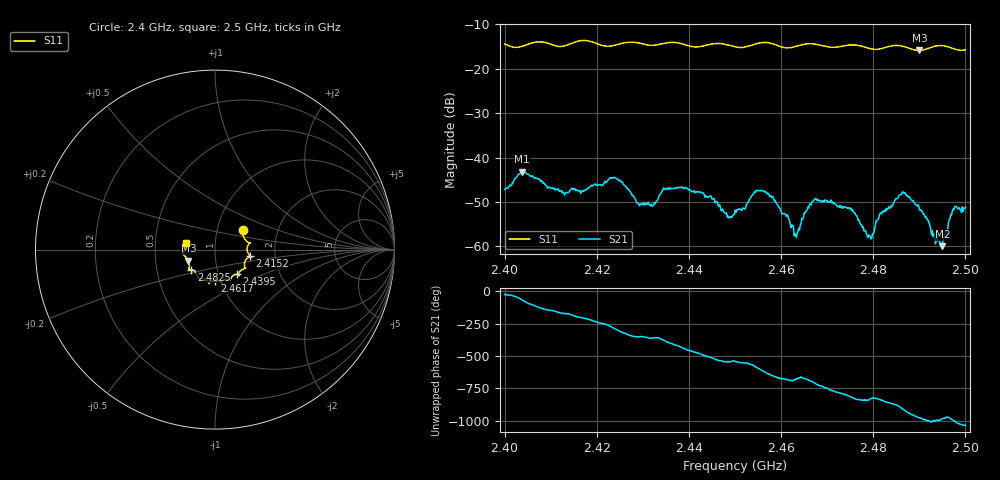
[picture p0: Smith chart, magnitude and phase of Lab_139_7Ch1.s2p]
# Hz S RI R 50
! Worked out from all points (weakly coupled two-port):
!   601 points, 2.4 GHz to 2.5 GHz, reference 50 ohm
!   highest |S21| = -43.18 dB at 2.4038 GHz (marker M1); lowest = -60.0 dB at 2.495 GHz (marker M2)
!   lowest |S11| = -15.9 dB at 2.49 GHz (marker M3), VSWR 1.38, Z = 36.8 - j4.71 ohm
!   |S11| at or under -10 dB: start of sweep to end of sweep
!   S12 and S22 are empty: the file has one direction only
!   S11 on the Smith chart (normalised r, x): 2.4 GHz: 1.33, +0.30; 2.4152 GHz: 1.48, -0.11; 2.4395 GHz: 1.22, -0.35; 2.4617 GHz: 0.94, -0.33; 2.4825 GHz: 0.75, -0.17; 2.5 GHz: 0.72, +0.05
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2.4e9  0.1555 0.1099  0.00396 -0.00184  0 0  0 0
2.403833e9  0.1724 0.0506  0.00258 -0.00643  0 0  0 0
2.415167e9  0.1958 -0.0362  -0.00427 0.000889  0 0  0 0
2.416667e9  0.204 -0.0417  -0.0037 0.00163  0 0  0 0
2.4235e9  0.1635 -0.0806  0.00117 0.00573  0 0  0 0
2.429167e9  0.164 -0.1061  0.00288 0.000363  0 0  0 0
2.433333e9  0.1326 -0.1327  0.00344 4.27e-05  0 0  0 0
2.4395e9  0.1227 -0.1378  -0.0001 -0.00454  0 0  0 0
2.45e9  0.0668 -0.1645  -0.00255 3.67e-05  0 0  0 0
2.455833e9  0.0377 -0.1936  -0.0013 0.00407  0 0  0 0
2.461667e9  0.000726 -0.1722  0.00169 0.00112  0 0  0 0
2.463333e9  -0.0209 -0.1785  0.000959 0.000814  0 0  0 0
2.466667e9  -0.0338 -0.1888  0.00285 0.00123  0 0  0 0
2.475e9  -0.0913 -0.1616  -0.000135 -0.00264  0 0  0 0
2.479167e9  -0.1025 -0.135  -0.000608 -0.00118  0 0  0 0
2.4825e9  -0.1324 -0.1113  -0.0017 -0.0019  0 0  0 0
2.483333e9  -0.14 -0.1104  -0.00217 -0.00174  0 0  0 0
2.4865e9  -0.1457 -0.1044  -0.00398 0.000845  0 0  0 0
2.49e9  -0.1486 -0.0623  -0.00053 0.00253  0 0  0 0
2.495e9  -0.1811 -0.0211  -9.34e-05 0.000999  0 0  0 0
2.4975e9  -0.1683 -0.00424  0.000486 0.00253  0 0  0 0
2.5e9  -0.16 0.0352  0.00201 0.00186  0 0  0 0
